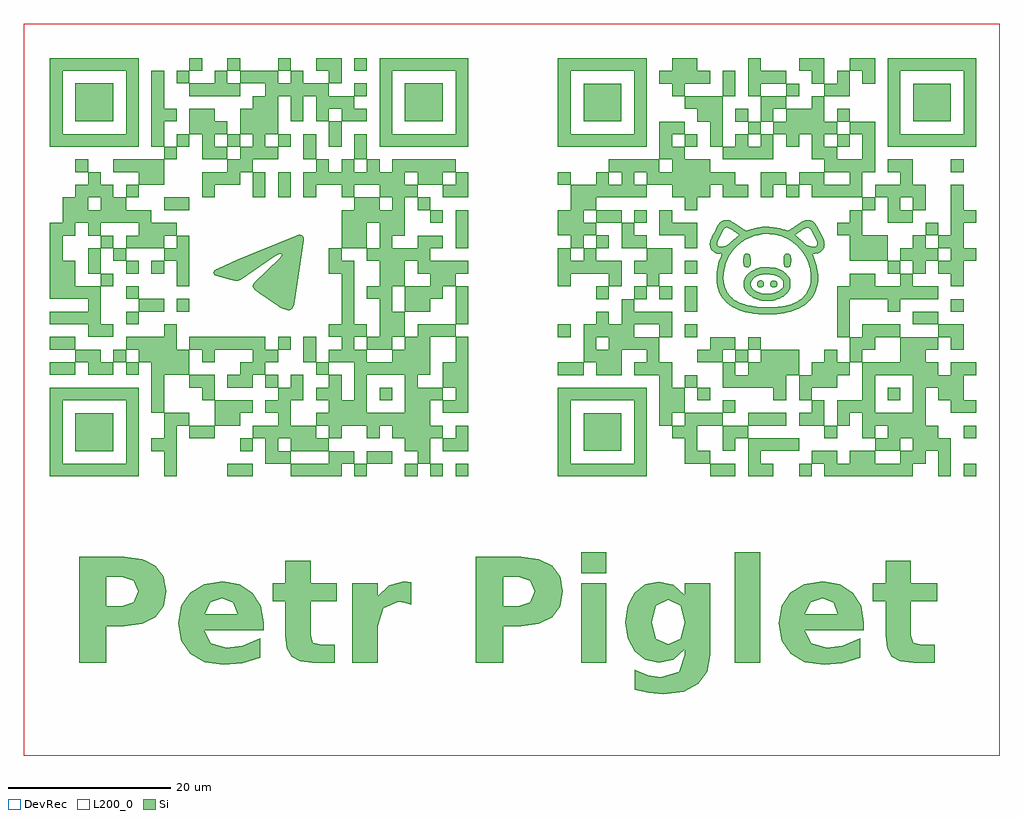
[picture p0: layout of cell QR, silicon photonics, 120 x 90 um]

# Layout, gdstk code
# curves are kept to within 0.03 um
import gdstk
lib = gdstk.Library(unit=1e-6, precision=1e-09)
def R(c, l, rs):  # rectangles x0, y0, x1, y1
    for r in rs: c.add(gdstk.rectangle(r[:2], r[2:], *l))
def P(c, l, *ps):  # polygons
    for p in ps: c.add(gdstk.Polygon(p, *l))
Si = (1, 0)
DevRec = (68, 0)
L200_0 = (200, 0)

c_qr = lib.new_cell('QR')
R(c_qr, Si, [(55.375,-9.402,58.498,0.365), (74.284,-9.402,77.405,4.17), (55.375,1.62,58.498,4.17), (71.263,13.505,74.351,15.05), (82.17,13.505,83.713,15.05), (102.44,13.505,103.984,15.05), (11.894,13.521,15.011,15.079), (27.479,13.521,29.039,15.079), (33.713,13.521,35.271,15.079), (36.83,13.521,38.389,15.079), (39.947,13.521,41.505,15.079), (29.039,15.079,32.154,16.637), (-6.81,16.635,-2.135,21.31), (13.453,16.637,15.011,18.196), (55.676,16.644,60.305,21.274), (85.258,18.189,86.853,19.731), (102.44,18.189,103.984,19.731), (7.218,18.196,10.337,19.755), (75.945,19.731,80.576,21.326), (72.807,21.326,74.351,22.87), (69.667,22.87,71.263,24.414), (93.075,22.87,94.62,24.414), (30.596,22.872,32.154,24.43), (68.126,24.414,69.667,25.956), (16.569,24.43,18.129,25.988), (52.536,25.956,55.676,27.551), (-9.923,25.988,-6.808,27.547), (-0.573,25.988,0.986,27.547), (22.803,25.988,24.362,27.547), (-2.132,27.547,-0.573,29.106), (21.245,27.547,22.803,30.663), (74.351,27.551,75.945,29.095), (75.945,29.095,77.489,30.636), (-9.923,29.106,-6.808,30.663), (18.129,29.106,19.687,30.663), (52.536,30.636,54.081,32.232), (68.126,30.636,69.667,32.232), (-0.573,32.223,0.986,33.78), (39.947,32.223,41.505,36.898), (96.163,32.232,99.3,33.776), (68.126,33.776,69.667,36.913), (100.845,33.776,102.44,35.319), (0.986,33.78,4.102,35.338), (5.661,33.78,7.218,35.338), (57.22,35.319,58.762,36.913), (61.901,35.319,63.445,36.913), (64.987,35.319,66.582,36.913), (-0.573,35.338,0.986,36.898), (-3.69,36.898,-2.132,38.456), (-5.249,38.456,-3.69,41.573), (-0.573,38.456,0.986,40.014), (2.543,38.456,4.102,40.014), (68.126,38.458,69.667,40), (93.075,38.458,94.62,40), (-2.132,40.014,-0.573,41.573), (57.22,41.545,58.762,43.139), (-3.69,41.573,-2.132,43.131), (39.947,41.573,41.505,46.248), (97.759,43.139,99.3,44.682), (57.22,44.682,60.357,46.227), (61.901,44.682,63.445,46.227), (36.83,44.689,38.389,46.248), (89.939,46.227,91.533,47.822), (4.102,46.248,7.218,47.807), (35.271,46.248,36.83,47.807), (-0.573,47.807,0.986,49.365), (15.011,47.807,16.569,50.924), (18.129,47.807,19.687,50.924), (80.576,47.822,82.17,49.363), (52.536,49.363,54.081,50.907), (100.845,50.907,102.44,52.502), (-6.808,50.924,-5.249,52.482), (4.102,52.482,5.661,54.039), (21.245,52.482,22.803,55.599), (27.479,52.482,29.039,55.599), (5.661,54.039,7.218,55.599), (11.894,54.039,13.453,55.599), (18.129,54.039,19.687,55.599), (24.362,54.039,25.92,57.157), (68.126,54.044,69.667,55.588), (86.853,54.044,88.394,55.588), (75.945,55.588,77.489,57.132), (74.351,57.132,75.945,58.728), (86.853,57.132,88.394,58.728), (-6.81,57.16,-2.135,61.835), (33.716,57.16,38.391,61.835), (55.676,57.184,60.305,61.814), (96.215,57.184,100.845,61.814), (72.807,60.269,74.351,63.408), (80.576,60.269,82.17,61.814), (27.479,60.275,29.039,61.833), (5.661,61.833,7.218,63.39), (7.218,63.39,8.778,64.949), (11.894,63.39,13.453,64.949), (18.129,63.39,19.687,64.949), (27.479,63.39,29.039,64.949)])
P(c_qr, Si, [(85.258,60.269),(85.258,61.814),(86.853,61.814),(86.853,63.408),(88.394,63.408),(88.394,60.269)],
  [(82.17,22.87),(82.17,25.956),(83.713,25.956),(83.713,27.551),(85.258,27.551),(85.258,29.095),(86.853,29.095),(86.853,27.551),(88.394,27.551),(88.394,25.956),(86.853,25.956),(86.853,24.414),(83.713,24.414),(83.713,22.87)],
  [(78.12,35.089),(77.439,35.147),(76.997,35.277),(76.448,35.539),(75.924,35.932),(75.622,36.279),(75.416,36.692),(75.345,37.215),(75.442,37.722),(75.628,38.074),(75.854,38.351),(78.403,38.351),(77.488,38.305),(77.174,38.215),(76.777,38.025),(76.542,37.828),(76.323,37.509),(76.219,37.207),(76.241,36.993),(76.349,36.741),(76.564,36.492),(76.854,36.286),(77.197,36.138),(77.778,35.995),(78.239,35.953),(79.031,36.038),(79.714,36.339),(80.241,36.8),(80.206,37.527),(79.899,37.895),(79.36,38.188),(78.825,38.325),(75.854,38.351),(76.17,38.63),(76.562,38.879),(77.457,39.206),(79,39.18),(79.337,39.124),(79.736,38.989),(80.083,38.813),(80.4,38.582),(80.81,38.19),(80.987,37.951),(81.082,37.686),(81.115,37.299),(81.105,36.809),(81.037,36.543),(80.855,36.222),(80.639,35.975),(80.204,35.627),(79.867,35.43),(79.082,35.147)],
  [(52.536,36.913),(52.536,41.545),(54.081,41.545),(54.081,40),(55.676,40),(55.676,41.545),(57.22,41.545),(57.22,40),(60.357,40),(60.357,36.913),(58.762,36.913),(58.762,38.458),(54.081,38.458),(54.081,36.913)],
  [(80.748,39.228),(80.491,39.279),(80.347,39.454),(80.303,40.471),(80.339,40.629),(80.455,40.783),(80.755,40.919),(80.982,40.823),(81.118,40.643),(81.192,40.008),(81.165,39.659),(81.073,39.364),(80.955,39.265)],
  [(68.126,15.05),(68.126,18.189),(66.582,18.189),(66.582,19.731),(68.126,19.731),(68.126,21.326),(72.807,21.326),(72.807,19.731),(69.667,19.731),(69.667,16.644),(71.263,16.644),(71.263,15.05)],
  [(22.406,-9.402),(20.822,-9.209),(19.78,-8.633),(19.202,-7.589),(19.013,-6.009),(19.013,-1.865),(17.46,-1.865),(17.46,0.365),(19.013,0.365),(19.013,3.139),(22.136,3.139),(22.136,0.365),(25.351,0.365),(25.351,-1.865),(22.136,-1.865),(22.136,-6.009),(22.406,-6.932),(23.475,-7.168),(25.081,-7.168),(25.081,-9.402)],
  [(96.197,-9.402),(94.617,-9.209),(93.571,-8.633),(92.997,-7.589),(92.806,-6.009),(92.806,-1.865),(91.254,-1.865),(91.254,0.365),(92.806,0.365),(92.806,3.139),(95.927,3.139),(95.927,0.365),(99.144,0.365),(99.144,-1.865),(95.927,-1.865),(95.927,-6.009),(96.197,-6.932),(97.27,-7.168),(98.874,-7.168),(98.874,-9.402)],
  [(11.894,24.43),(11.894,25.988),(13.453,25.988),(13.453,27.547),(15.011,27.547),(15.011,29.106),(10.337,29.106),(10.337,27.547),(8.778,27.547),(8.778,29.106),(7.218,29.106),(7.218,30.663),(16.569,30.663),(16.569,29.106),(18.129,29.106),(18.129,27.547),(16.569,27.547),(16.569,25.988),(15.011,25.988),(15.011,24.43)],
  [(10.337,19.755),(10.337,22.872),(15.011,22.872),(15.011,21.313),(13.453,21.313),(13.453,19.755)],
  [(79.032,22.87),(79.032,24.414),(72.807,24.414),(72.807,27.551),(74.351,27.551),(74.351,25.956),(75.945,25.956),(75.945,27.551),(77.489,27.551),(77.489,29.095),(82.17,29.095),(82.17,25.956),(80.576,25.956),(80.576,22.87)],
  [(0.986,49.365),(0.986,50.924),(-2.132,50.924),(-2.132,52.482),(4.102,52.482),(4.102,49.365)],
  [(2.543,21.313),(2.543,27.547),(0.986,27.547),(0.986,29.106),(-0.573,29.106),(-0.573,30.663),(4.102,30.663),(4.102,32.223),(5.661,32.223),(5.661,29.106),(7.218,29.106),(7.218,25.988),(4.102,25.988),(4.102,21.313)],
  [(30.599,54.044),(30.599,63.394),(32.158,63.394),(32.158,55.602),(39.95,55.602),(39.95,63.394),(30.599,63.394),(30.599,64.953),(41.509,64.953),(41.509,54.044)],
  [(64.987,19.731),(64.987,25.956),(61.901,25.956),(61.901,27.551),(63.445,27.551),(63.445,29.095),(60.357,29.095),(60.357,25.956),(57.22,25.956),(57.22,27.551),(55.676,27.551),(55.676,30.636),(57.22,30.636),(57.22,29.095),(58.762,29.095),(58.762,30.636),(55.676,30.636),(55.676,32.232),(57.22,32.232),(57.22,33.776),(58.762,33.776),(58.762,32.232),(60.357,32.232),(60.357,35.319),(61.901,35.319),(61.901,33.776),(66.582,33.776),(66.582,30.636),(64.987,30.636),(64.987,32.232),(61.901,32.232),(61.901,30.636),(64.987,30.636),(64.987,27.551),(66.582,27.551),(66.582,24.414),(68.126,24.414),(68.126,21.326),(66.582,21.326),(66.582,19.731)],
  [(27.261,-9.402),(27.261,0.365),(30.384,0.365),(30.384,-1.237),(31.761,0.156),(33.638,0.601),(34.509,0.531),(34.518,-2.295),(33.699,-2.013),(32.884,-1.919),(31.028,-2.695),(30.384,-4.9),(30.384,-9.402)],
  [(5.661,36.898),(5.661,40.014),(4.102,40.014),(4.102,41.573),(5.661,41.573),(5.661,43.131),(7.218,43.131),(7.218,36.898)],
  [(93.075,44.682),(93.075,47.822),(91.533,47.822),(91.533,49.363),(94.62,49.363),(94.62,50.907),(93.075,50.907),(93.075,52.502),(96.163,52.502),(96.163,49.363),(97.759,49.363),(97.759,46.227),(96.163,46.227),(96.163,47.822),(94.62,47.822),(94.62,46.227),(96.163,46.227),(96.163,44.682)],
  [(8.778,47.807),(8.778,50.924),(11.894,50.924),(11.894,52.482),(13.453,52.482),(13.453,54.039),(15.011,54.039),(15.011,55.599),(13.453,55.599),(13.453,58.715),(15.011,58.715),(15.011,60.275),(16.569,60.275),(16.569,61.833),(13.453,61.833),(13.453,63.39),(18.129,63.39),(18.129,61.833),(19.687,61.833),(19.687,63.39),(21.245,63.39),(21.245,61.833),(24.362,61.833),(24.362,60.275),(27.479,60.275),(27.479,58.715),(29.039,58.715),(29.039,57.157),(25.92,57.157),(25.92,58.715),(24.362,58.715),(24.362,57.157),(22.803,57.157),(22.803,60.275),(21.245,60.275),(21.245,57.157),(19.687,57.157),(19.687,60.275),(18.129,60.275),(18.129,55.599),(16.569,55.599),(16.569,54.039),(18.129,54.039),(18.129,52.482),(15.011,52.482),(15.011,50.924),(13.453,50.924),(13.453,49.365),(10.337,49.365),(10.337,47.807)],
  [(38.389,16.637),(38.389,18.196),(39.947,18.196),(39.947,19.755),(41.505,19.755),(41.505,16.637)],
  [(8.778,52.482),(8.778,55.599),(7.218,55.599),(7.218,58.715),(10.337,58.715),(10.337,57.157),(11.894,57.157),(11.894,55.599),(10.337,55.599),(10.337,54.039),(11.894,54.039),(11.894,52.482)],
  [(71.263,54.044),(71.263,57.132),(69.667,57.132),(69.667,58.728),(68.126,58.728),(68.126,60.269),(72.807,60.269),(72.807,54.044)],
  [(42.426,-9.402),(42.426,1.186),(45.783,1.186),(45.783,-2.45),(47.64,-2.45),(49.149,-1.98),(49.683,-0.627),(49.149,0.716),(47.64,1.186),(42.426,1.186),(42.426,3.618),(47.997,3.618),(50.196,3.342),(51.809,2.511),(52.81,1.179),(53.145,-0.627),(52.81,-2.443),(51.809,-3.786),(50.196,-4.61),(47.997,-4.882),(45.783,-4.882),(45.783,-9.402)],
  [(52.536,54.044),(52.536,63.408),(54.081,63.408),(54.081,55.588),(61.901,55.588),(61.901,63.408),(52.536,63.408),(52.536,64.953),(63.445,64.953),(63.445,54.044)],
  [(93.075,54.044),(93.075,63.408),(94.62,63.408),(94.62,55.588),(102.44,55.588),(102.44,63.408),(93.075,63.408),(93.075,64.953),(103.984,64.953),(103.984,54.044)],
  [(-5.249,30.663),(-5.249,32.223),(-9.923,32.223),(-9.923,33.78),(-5.249,33.78),(-5.249,35.338),(-9.923,35.338),(-9.923,44.689),(-8.365,44.689),(-8.365,47.807),(-5.249,47.807),(-5.249,46.248),(-3.69,46.248),(-3.69,47.807),(-6.808,47.807),(-6.808,49.365),(-5.249,49.365),(-5.249,50.924),(-3.69,50.924),(-3.69,49.365),(-2.132,49.365),(-2.132,47.807),(-0.573,47.807),(-0.573,46.248),(2.543,46.248),(2.543,44.689),(5.661,44.689),(5.661,43.131),(4.102,43.131),(4.102,41.573),(-0.573,41.573),(-0.573,43.131),(0.986,43.131),(0.986,44.689),(-3.69,44.689),(-3.69,43.131),(-5.249,43.131),(-5.249,44.689),(-6.808,44.689),(-6.808,43.131),(-8.365,43.131),(-8.365,40.014),(-6.808,40.014),(-6.808,36.898),(-3.69,36.898),(-3.69,32.223),(-2.132,32.223),(-2.132,30.663)],
  [(35.271,15.079),(35.271,16.637),(33.713,16.637),(33.713,18.196),(32.154,18.196),(32.154,19.755),(30.596,19.755),(30.596,18.196),(29.039,18.196),(29.039,19.755),(25.92,19.755),(25.92,18.196),(24.362,18.196),(24.362,19.755),(22.803,19.755),(22.803,21.313),(24.362,21.313),(24.362,22.872),(22.803,22.872),(22.803,24.43),(24.362,24.43),(24.362,25.988),(25.92,25.988),(25.92,22.872),(27.479,22.872),(27.479,25.988),(29.039,25.988),(29.039,21.313),(33.713,21.313),(33.713,25.988),(27.479,25.988),(27.479,27.547),(24.362,27.547),(24.362,29.106),(25.92,29.106),(25.92,30.663),(24.362,30.663),(24.362,32.223),(25.92,32.223),(25.92,38.456),(24.362,38.456),(24.362,41.573),(25.92,41.573),(25.92,40.014),(27.479,40.014),(27.479,32.223),(29.039,32.223),(29.039,30.663),(27.479,30.663),(27.479,29.106),(29.039,29.106),(29.039,27.547),(32.154,27.547),(32.154,29.106),(33.713,29.106),(33.713,30.663),(35.271,30.663),(35.271,32.223),(39.947,32.223),(39.947,30.663),(36.83,30.663),(36.83,25.988),(35.271,25.988),(35.271,24.43),(38.389,24.43),(38.389,22.872),(36.83,22.872),(36.83,19.755),(38.389,19.755),(38.389,18.196),(36.83,18.196),(36.83,15.079)],
  [(68.126,41.545),(68.126,43.139),(64.987,43.139),(64.987,46.227),(66.582,46.227),(66.582,44.682),(69.667,44.682),(69.667,41.545)],
  [(85.262,-9.654),(82.906,-9.317),(81.138,-8.311),(80.037,-6.689),(79.673,-4.524),(80.031,-2.391),(80.643,-1.473),(85.071,-1.473),(83.595,-1.986),(82.89,-3.451),(86.943,-3.451),(86.421,-2.025),(85.071,-1.473),(80.643,-1.473),(81.111,-0.769),(82.83,0.261),(85.086,0.601),(87.159,0.255),(88.765,-0.785),(89.809,-2.405),(90.153,-4.491),(90.153,-5.382),(82.857,-5.382),(83.649,-7.029),(85.55,-7.58),(87.564,-7.29),(89.69,-6.401),(89.69,-8.808),(87.476,-9.436)],
  [(4.102,13.521),(4.102,16.637),(2.543,16.637),(2.543,18.196),(4.102,18.196),(4.102,21.313),(7.218,21.313),(7.218,19.755),(5.661,19.755),(5.661,13.521)],
  [(19.328,33.947),(18.677,34.133),(16.9,35.276),(15.248,36.482),(15.103,36.641),(15.015,36.854),(15.05,37.109),(15.135,37.25),(18.274,40.261),(18.503,40.57),(18.566,40.723),(18.537,40.878),(18.298,40.865),(17.987,40.719),(13.534,37.712),(13.199,37.601),(12.523,37.611),(10.364,38.257),(10.209,38.415),(10.181,38.655),(10.28,38.8),(10.493,38.955),(13.098,40.128),(15.494,41.141),(20.33,43.124),(20.651,43.199),(21.012,43.16),(21.161,43.052),(21.257,42.855),(21.272,42.551),(20.084,34.63),(20.009,34.391),(19.837,34.131),(19.531,33.962)],
  [(83.713,47.822),(83.713,49.363),(82.17,49.363),(82.17,50.907),(85.258,50.907),(85.258,49.363),(88.394,49.363),(88.394,50.907),(85.258,50.907),(85.258,52.502),(83.713,52.502),(83.713,55.588),(82.17,55.588),(82.17,54.044),(80.576,54.044),(80.576,55.588),(79.032,55.588),(79.032,57.132),(80.576,57.132),(80.576,58.728),(83.713,58.728),(83.713,60.269),(85.258,60.269),(85.258,57.132),(86.853,57.132),(86.853,55.588),(85.258,55.588),(85.258,54.044),(86.853,54.044),(86.853,52.502),(89.939,52.502),(89.939,55.588),(88.394,55.588),(88.394,57.132),(91.533,57.132),(91.533,50.907),(89.939,50.907),(89.939,47.822)],
  [(16.569,15.079),(16.569,18.196),(15.011,18.196),(15.011,19.755),(18.129,19.755),(18.129,21.313),(16.569,21.313),(16.569,22.872),(18.129,22.872),(18.129,24.43),(19.687,24.43),(19.687,25.988),(21.245,25.988),(21.245,22.872),(19.687,22.872),(19.687,19.755),(22.803,19.755),(22.803,18.196),(24.362,18.196),(24.362,16.637),(19.687,16.637),(19.687,18.196),(18.129,18.196),(18.129,16.637),(19.687,16.637),(19.687,15.079)],
  [(-5.249,25.988),(-5.249,27.547),(-6.808,27.547),(-6.808,29.106),(-3.69,29.106),(-3.69,27.547),(-2.132,27.547),(-2.132,25.988)],
  [(-9.926,54.044),(-9.926,63.394),(-8.368,63.394),(-8.368,55.602),(-0.577,55.602),(-0.577,63.394),(-9.926,63.394),(-9.926,64.953),(0.982,64.953),(0.982,54.044)],
  [(19.687,13.521),(19.687,15.079),(24.362,15.079),(24.362,16.637),(27.479,16.637),(27.479,15.079),(25.92,15.079),(25.92,13.521)],
  [(89.939,61.814),(89.939,63.408),(88.394,63.408),(88.394,64.953),(91.533,64.953),(91.533,61.814)],
  [(-9.926,13.519),(-9.926,22.87),(-8.368,22.87),(-8.368,15.077),(-0.577,15.077),(-0.577,22.87),(-9.926,22.87),(-9.926,24.427),(0.982,24.427),(0.982,13.519)],
  [(2.543,54.039),(2.543,63.39),(4.102,63.39),(4.102,58.715),(5.661,58.715),(5.661,57.157),(4.102,57.157),(4.102,54.039)],
  [(88.394,40),(88.394,43.139),(86.853,43.139),(86.853,44.682),(88.394,44.682),(88.394,46.227),(89.939,46.227),(89.939,43.139),(93.075,43.139),(93.075,40)],
  [(-6.34,-9.402),(-6.34,1.186),(-2.981,1.186),(-2.981,-2.45),(-1.125,-2.45),(0.383,-1.98),(0.916,-0.627),(0.383,0.716),(-1.125,1.186),(-6.34,1.186),(-6.34,3.618),(-0.767,3.618),(1.429,3.342),(3.047,2.511),(4.046,1.179),(4.379,-0.627),(4.046,-2.443),(3.047,-3.786),(1.429,-4.61),(-0.767,-4.882),(-2.981,-4.882),(-2.981,-9.402)],
  [(8.778,22.872),(8.778,24.43),(7.218,24.43),(7.218,25.988),(10.337,25.988),(10.337,22.872)],
  [(75.945,60.269),(75.945,64.953),(77.489,64.953),(77.489,63.408),(80.576,63.408),(80.576,61.814),(77.489,61.814),(77.489,60.269)],
  [(96.163,38.458),(96.163,40),(94.62,40),(94.62,41.545),(96.163,41.545),(96.163,43.139),(97.759,43.139),(97.759,41.545),(99.3,41.545),(99.3,40),(97.759,40),(97.759,38.458)],
  [(38.389,21.313),(38.389,22.872),(39.947,22.872),(39.947,24.43),(38.389,24.43),(38.389,27.547),(39.947,27.547),(39.947,30.663),(41.505,30.663),(41.505,21.313)],
  [(54.081,41.545),(54.081,43.139),(52.536,43.139),(52.536,46.227),(54.081,46.227),(54.081,49.363),(57.22,49.363),(57.22,50.907),(58.762,50.907),(58.762,49.363),(60.357,49.363),(60.357,50.907),(58.762,50.907),(58.762,52.502),(64.987,52.502),(64.987,50.907),(66.582,50.907),(66.582,52.502),(64.987,52.502),(64.987,57.132),(68.126,57.132),(68.126,55.588),(66.582,55.588),(66.582,54.044),(68.126,54.044),(68.126,52.502),(71.263,52.502),(71.263,50.907),(74.351,50.907),(74.351,49.363),(75.945,49.363),(75.945,47.822),(72.807,47.822),(72.807,49.363),(71.263,49.363),(71.263,47.822),(69.667,47.822),(69.667,46.227),(68.126,46.227),(68.126,47.822),(66.582,47.822),(66.582,49.363),(63.445,49.363),(63.445,50.907),(61.901,50.907),(61.901,49.363),(63.445,49.363),(63.445,47.822),(57.22,47.822),(57.22,46.227),(55.676,46.227),(55.676,44.682),(57.22,44.682),(57.22,43.139),(55.676,43.139),(55.676,41.545)],
  [(38.389,47.807),(38.389,49.365),(39.947,49.365),(39.947,50.924),(41.505,50.924),(41.505,47.807)],
  [(100.845,29.095),(100.845,30.636),(99.3,30.636),(99.3,32.232),(102.44,32.232),(102.44,29.095)],
  [(72.807,16.644),(72.807,19.731),(75.945,19.731),(75.945,18.189),(74.351,18.189),(74.351,16.644)],
  [(75.945,13.505),(75.945,18.189),(82.17,18.189),(82.17,16.644),(77.489,16.644),(77.489,15.05),(79.032,15.05),(79.032,13.505)],
  [(69.667,27.551),(69.667,29.095),(71.263,29.095),(71.263,30.636),(74.351,30.636),(74.351,29.095),(72.807,29.095),(72.807,27.551)],
  [(100.845,36.913),(100.845,38.458),(99.3,38.458),(99.3,40),(100.845,40),(100.845,41.545),(99.3,41.545),(99.3,43.139),(100.845,43.139),(100.845,49.363),(102.44,49.363),(102.44,46.227),(103.984,46.227),(103.984,44.682),(102.44,44.682),(102.44,41.545),(103.984,41.545),(103.984,40),(102.44,40),(102.44,36.913)],
  [(63.445,36.913),(63.445,38.458),(61.901,38.458),(61.901,40),(63.445,40),(63.445,41.545),(66.582,41.545),(66.582,38.458),(64.987,38.458),(64.987,36.913)],
  [(52.536,13.505),(52.536,22.87),(54.081,22.87),(54.081,15.05),(61.901,15.05),(61.901,22.87),(52.536,22.87),(52.536,24.414),(63.445,24.414),(63.445,13.505)],
  [(65.484,-13.257),(63.711,-13.115),(61.995,-12.69),(61.995,-10.255),(63.601,-10.955),(65.176,-11.187),(67.428,-10.516),(68.144,-8.417),(68.144,-7.744),(66.722,-9),(64.924,-9.402),(63.291,-9.051),(61.968,-7.998),(61.092,-6.392),(60.8,-4.403),(61.092,-2.412),(61.502,-1.667),(66.085,-1.667),(64.575,-2.382),(64.035,-4.403),(64.56,-6.446),(66.085,-7.134),(67.604,-6.419),(68.144,-4.403),(67.604,-2.382),(66.085,-1.667),(61.502,-1.667),(61.968,-0.819),(63.291,0.234),(64.924,0.585),(66.722,0.183),(68.144,-1.082),(68.144,0.365),(71.283,0.365),(71.283,-8.417),(70.907,-10.491),(69.791,-12.008),(67.971,-12.942)],
  [(60.357,41.545),(60.357,44.682),(61.901,44.682),(61.901,43.139),(63.445,43.139),(63.445,41.545)],
  [(72.807,52.502),(72.807,54.044),(74.351,54.044),(74.351,55.588),(75.945,55.588),(75.945,54.044),(77.489,54.044),(77.489,55.588),(79.032,55.588),(79.032,52.502)],
  [(83.713,61.814),(83.713,63.408),(82.17,63.408),(82.17,64.953),(85.258,64.953),(85.258,61.814)],
  [(7.218,60.275),(7.218,61.833),(10.337,61.833),(10.337,63.39),(11.894,63.39),(11.894,61.833),(13.453,61.833),(13.453,60.275)],
  [(77.489,47.822),(77.489,50.907),(80.576,50.907),(80.576,49.363),(79.032,49.363),(79.032,47.822)],
  [(77.489,57.132),(77.489,60.269),(80.576,60.269),(80.576,58.728),(79.032,58.728),(79.032,57.132)],
  [(78.321,33.423),(77.246,33.447),(76.344,33.549),(75.192,33.831),(74.478,34.103),(73.839,34.441),(73.376,34.79),(72.84,35.355),(72.518,35.823),(72.286,36.317),(72.122,36.892),(72.058,37.389),(72.039,38.181),(72.109,38.984),(72.249,39.708),(72.676,40.831),(72.077,40.926),(71.616,41.182),(71.318,41.543),(71.221,41.946),(71.256,42.431),(71.352,42.722),(72.067,44.15),(73.298,44.15),(73.067,44.058),(72.867,43.81),(72.152,42.345),(72.094,42.093),(72.118,41.959),(72.249,41.802),(72.458,41.721),(73.072,41.842),(73.451,42.002),(74.807,43.169),(74.801,43.22),(74.641,43.338),(78.235,43.338),(77.421,43.246),(76.707,43.089),(75.854,42.76),(75.327,42.457),(74.581,41.888),(74.18,41.48),(73.675,40.783),(73.274,39.981),(73.011,39.136),(72.887,38.271),(72.902,37.569),(73.092,36.734),(73.438,36.036),(73.824,35.56),(74.298,35.172),(74.97,34.83),(76.121,34.5),(77.133,34.338),(78.191,34.289),(79.152,34.313),(79.961,34.383),(81.021,34.63),(81.745,34.908),(82.26,35.207),(82.691,35.563),(83.092,36.058),(83.41,36.681),(83.57,37.26),(83.635,37.997),(83.578,38.761),(83.349,39.682),(83.094,40.285),(82.58,41.137),(81.932,41.877),(81.225,42.447),(80.432,42.879),(79.565,43.166),(78.504,43.32),(74.641,43.338),(73.382,44.136),(72.067,44.15),(72.385,44.631),(72.749,44.909),(73.233,45.027),(73.685,44.949),(74.047,44.774),(75.34,43.927),(75.728,43.719),(76.848,44.051),(77.777,44.191),(78.496,44.195),(79.441,44.099),(79.966,43.99),(80.807,43.73),(81.467,44.114),(83.222,44.114),(82.975,44.049),(82.598,43.833),(81.71,43.181),(82.499,42.516),(83.073,41.957),(83.533,41.811),(84.081,41.728),(84.231,41.765),(84.36,41.876),(84.431,42.06),(84.413,42.263),(83.66,43.8),(83.518,43.993),(83.245,44.114),(81.467,44.114),(82.644,44.868),(83.057,45.022),(83.333,45.034),(83.787,44.893),(84.172,44.577),(84.461,44.147),(84.971,43.14),(85.278,42.353),(85.299,41.901),(85.231,41.611),(85.032,41.307),(84.684,41.032),(84.409,40.92),(83.902,40.868),(83.83,40.823),(84.364,39.23),(84.482,38.615),(84.534,38.012),(84.513,37.463),(84.377,36.744),(84.153,36.146),(83.846,35.607),(83.445,35.103),(82.858,34.588),(82.396,34.29),(81.76,33.989),(81.169,33.781),(80.347,33.581),(79.419,33.47)],
  [(24.362,61.833),(24.362,63.39),(22.803,63.39),(22.803,64.949),(25.92,64.949),(25.92,61.833)],
  [(75.78,39.229),(75.542,39.283),(75.389,39.435),(75.336,40.189),(75.373,40.523),(75.463,40.749),(75.576,40.857),(75.801,40.921),(75.989,40.835),(76.178,40.62),(76.215,39.709),(76.182,39.462),(76.095,39.325),(75.982,39.259)],
  [(79.07,36.761),(78.771,36.863),(78.645,37.071),(78.667,37.285),(78.735,37.431),(78.951,37.576),(79.144,37.575),(79.319,37.514),(79.439,37.393),(79.493,37.222),(79.481,37.056),(79.376,36.87),(79.231,36.781)],
  [(11.471,-9.654),(9.11,-9.317),(7.342,-8.311),(6.246,-6.689),(5.877,-4.524),(6.239,-2.391),(6.849,-1.473),(11.277,-1.473),(9.804,-1.986),(9.097,-3.451),(13.152,-3.451),(12.627,-2.025),(11.277,-1.473),(6.849,-1.473),(7.319,-0.769),(9.036,0.261),(11.295,0.601),(13.363,0.255),(14.974,-0.785),(16.014,-2.405),(16.36,-4.491),(16.36,-5.382),(9.061,-5.382),(9.858,-7.029),(11.757,-7.58),(13.773,-7.29),(15.899,-6.401),(15.899,-8.808),(13.685,-9.436)],
  [(82.17,19.731),(82.17,21.326),(83.713,21.326),(83.713,22.87),(85.258,22.87),(85.258,19.731)],
  [(86.853,30.636),(86.853,36.913),(88.394,36.913),(88.394,38.458),(91.533,38.458),(91.533,36.913),(94.62,36.913),(94.62,38.458),(96.163,38.458),(96.163,36.913),(99.3,36.913),(99.3,35.319),(94.62,35.319),(94.62,33.776),(93.075,33.776),(93.075,35.319),(88.394,35.319),(88.394,30.636)],
  [(29.039,29.106),(29.039,30.663),(30.596,30.663),(30.596,35.338),(29.039,35.338),(29.039,36.898),(30.596,36.898),(30.596,40.014),(29.039,40.014),(29.039,41.573),(30.596,41.573),(30.596,44.689),(29.039,44.689),(29.039,41.573),(25.92,41.573),(25.92,46.248),(27.479,46.248),(27.479,47.807),(30.596,47.807),(30.596,46.248),(32.154,46.248),(32.154,47.807),(30.596,47.807),(30.596,49.365),(27.479,49.365),(27.479,47.807),(25.92,47.807),(25.92,49.365),(22.803,49.365),(22.803,47.807),(21.245,47.807),(21.245,50.924),(22.803,50.924),(22.803,52.482),(24.362,52.482),(24.362,50.924),(25.92,50.924),(25.92,52.482),(27.479,52.482),(27.479,50.924),(29.039,50.924),(29.039,52.482),(30.596,52.482),(30.596,50.924),(32.154,50.924),(32.154,52.482),(39.947,52.482),(39.947,50.924),(38.389,50.924),(38.389,49.365),(35.271,49.365),(35.271,50.924),(33.713,50.924),(33.713,49.365),(35.271,49.365),(35.271,47.807),(33.713,47.807),(33.713,43.131),(32.154,43.131),(32.154,41.573),(35.271,41.573),(35.271,43.131),(38.389,43.131),(38.389,41.573),(36.83,41.573),(36.83,40.014),(41.505,40.014),(41.505,38.456),(39.947,38.456),(39.947,36.898),(38.389,36.898),(38.389,35.338),(36.83,35.338),(36.83,33.78),(33.713,33.78),(33.713,36.898),(36.83,36.898),(36.83,38.456),(35.271,38.456),(35.271,40.014),(33.713,40.014),(33.713,36.898),(32.154,36.898),(32.154,33.78),(33.713,33.78),(33.713,30.663),(32.154,30.663),(32.154,29.106)],
  [(66.582,60.269),(66.582,61.814),(64.987,61.814),(64.987,63.408),(66.582,63.408),(66.582,64.953),(69.667,64.953),(69.667,63.408),(71.263,63.408),(71.263,61.814),(68.126,61.814),(68.126,60.269)],
  [(85.258,13.505),(85.258,15.05),(83.713,15.05),(83.713,16.644),(86.853,16.644),(86.853,15.05),(88.394,15.05),(88.394,16.644),(91.533,16.644),(91.533,15.05),(94.62,15.05),(94.62,16.644),(96.163,16.644),(96.163,18.189),(94.62,18.189),(94.62,16.644),(91.533,16.644),(91.533,18.189),(93.075,18.189),(93.075,19.731),(91.533,19.731),(91.533,18.189),(89.939,18.189),(89.939,21.326),(88.394,21.326),(88.394,19.731),(86.853,19.731),(86.853,22.87),(89.939,22.87),(89.939,25.956),(91.533,25.956),(91.533,21.326),(96.163,21.326),(96.163,25.956),(89.939,25.956),(89.939,27.551),(94.62,27.551),(94.62,30.636),(99.3,30.636),(99.3,29.095),(97.759,29.095),(97.759,27.551),(99.3,27.551),(99.3,25.956),(100.845,25.956),(100.845,27.551),(103.984,27.551),(103.984,25.956),(102.44,25.956),(102.44,22.87),(103.984,22.87),(103.984,21.326),(100.845,21.326),(100.845,22.87),(99.3,22.87),(99.3,24.414),(97.759,24.414),(97.759,19.731),(99.3,19.731),(99.3,18.189),(100.845,18.189),(100.845,13.505),(99.3,13.505),(99.3,16.644),(97.759,16.644),(97.759,15.05),(96.163,15.05),(96.163,13.505)],
  [(77.389,36.758),(77.215,36.8),(77.105,36.888),(77.031,37.032),(77.016,37.192),(77.159,37.488),(77.474,37.625),(77.75,37.477),(77.845,37.31),(77.859,37.162),(77.808,36.983),(77.711,36.854),(77.562,36.775)],
  [(88.394,27.551),(88.394,30.636),(89.939,30.636),(89.939,32.232),(94.62,32.232),(94.62,30.636),(91.533,30.636),(91.533,29.095),(89.939,29.095),(89.939,27.551)])
R(c_qr, DevRec, [(-13.18,-20.8,106.82,69.2)])
R(c_qr, L200_0, [(-13.18,-20.8,106.82,69.2)])

lib.write_gds('QR.gds')
